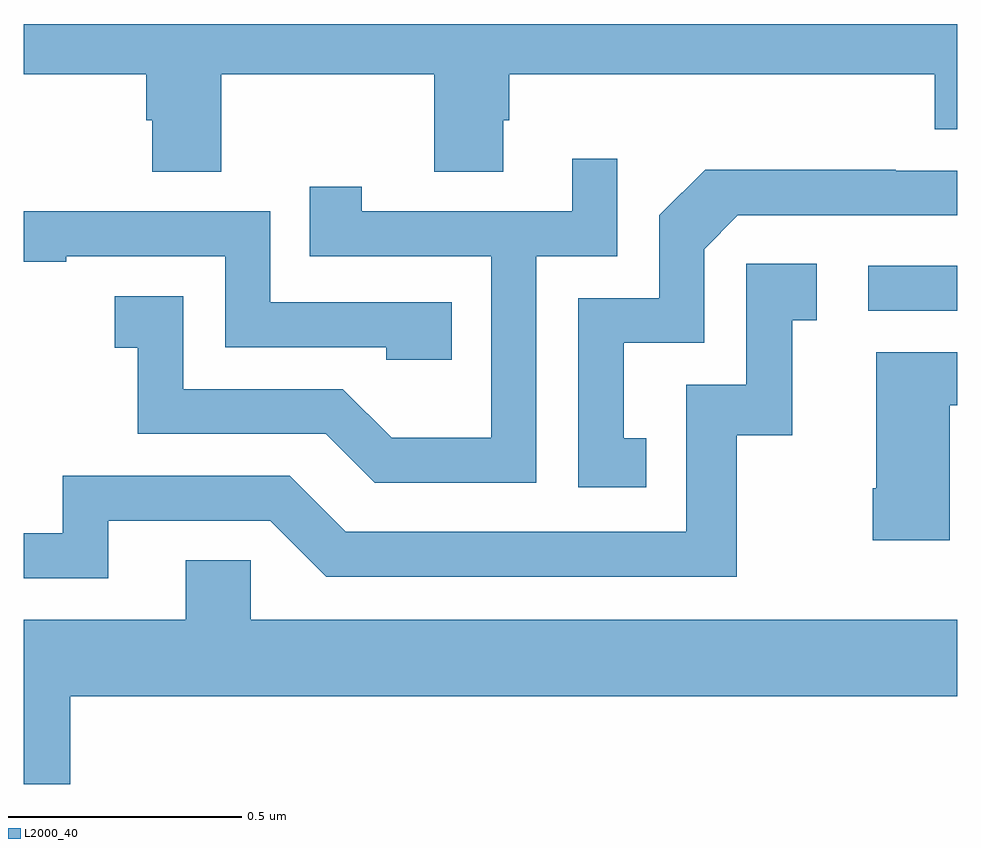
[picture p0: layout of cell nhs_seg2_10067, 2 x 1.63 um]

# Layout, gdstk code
import gdstk
lib = gdstk.Library(unit=1e-6, precision=1e-09)
def R(c, l, rs):  # rectangles x0, y0, x1, y1
    for r in rs: c.add(gdstk.rectangle(r[:2], r[2:], *l))
def P(c, l, *ps):  # polygons
    for p in ps: c.add(gdstk.Polygon(p, *l))
L2000_40 = (2000, 40)

nhs_seg2_10067 = lib.new_cell('nhs_seg2_10067')
R(nhs_seg2_10067, L2000_40, [(238.809,591.186,239,591.282)])
P(nhs_seg2_10067, L2000_40, [(237.423,591.692),(237.88,591.692),(237.88,591.484),(238.027,591.484),(238.027,591.594),(238.04,591.594),(238.04,591.692),(238.952,591.692),(238.952,591.575),(239,591.575),(239,591.8),(237,591.8),(237,591.692),(237.263,591.692),(237.263,591.594),(237.275,591.594),(237.275,591.484),(237.423,591.484)],
  [(238.098,591.303),(238.272,591.303),(238.272,591.511),(238.175,591.511),(238.175,591.399),(237.724,591.399),(237.724,591.451),(237.613,591.451),(237.613,591.303),(238.002,591.303),(238.002,590.914),(237.788,590.914),(237.684,591.018),(237.342,591.018),(237.342,591.217),(237.195,591.217),(237.195,591.107),(237.244,591.107),(237.244,590.922),(237.647,590.922),(237.752,590.817),(238.098,590.817)],
  [(238.334,590.913),(238.285,590.913),(238.285,591.117),(238.458,591.117),(238.458,591.318),(238.53,591.39),(239,591.39),(239,591.486),(238.868,591.486),(238.868,591.488),(238.46,591.488),(238.362,591.39),(238.362,591.213),(238.188,591.213),(238.188,590.808),(238.334,590.808)],
  [(237.917,591.204),(237.528,591.204),(237.528,591.399),(237,591.399),(237,591.291),(237.091,591.291),(237.091,591.303),(237.432,591.303),(237.432,591.108),(237.777,591.108),(237.777,591.081),(237.917,591.081)],
  [(237.181,590.736),(237.528,590.736),(237.648,590.616),(238.528,590.616),(238.528,590.919),(238.646,590.919),(238.646,591.165),(238.699,591.165),(238.699,591.286),(238.548,591.286),(238.548,591.027),(238.419,591.027),(238.419,590.712),(237.69,590.712),(237.57,590.832),(237.084,590.832),(237.084,590.709),(237,590.709),(237,590.613),(237.181,590.613)],
  [(238.984,590.983),(239,590.983),(239,591.097),(238.826,591.097),(238.826,590.806),(238.819,590.806),(238.819,590.694),(238.984,590.694)],
  [(237.1,590.36),(239,590.36),(239,590.524),(237.486,590.524),(237.486,590.651),(237.347,590.651),(237.347,590.524),(237,590.524),(237,590.172),(237.1,590.172)])

lib.write_gds('nhs_seg2_10067.gds')
